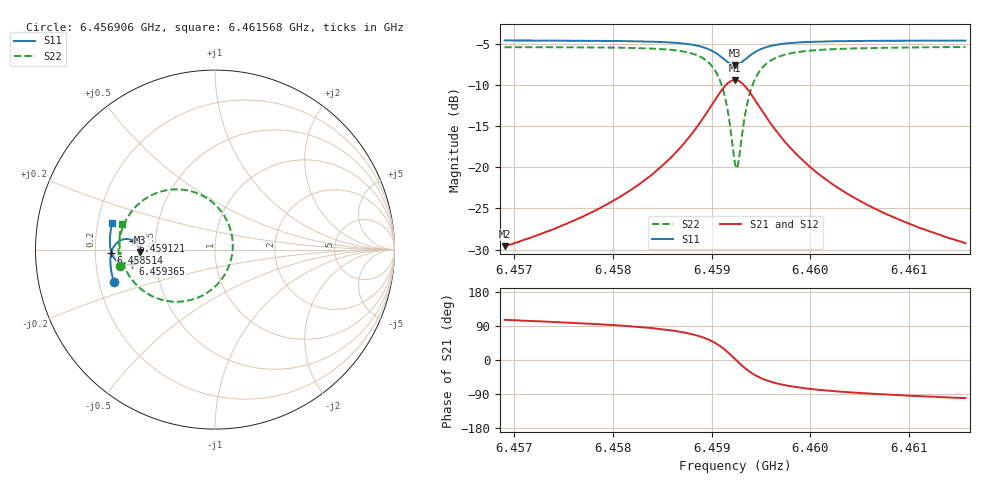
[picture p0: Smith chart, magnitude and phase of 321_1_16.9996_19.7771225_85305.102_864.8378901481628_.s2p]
#  HZ  S  RI  R  50.00
! Rohde & Schwarz Vector Network Analyzer
! Rohde-Schwarz,ZNB20-2Port,1311601062101988,3.16
! Created: UTC 3/20/2024, 11:06:25 PM
! freq[Hz]  re:S11  im:S11  re:S21  im:S21  re:S12  im:S12  re:S22  im:S22
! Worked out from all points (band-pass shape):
!   401 points, 6.456906 GHz to 6.461568 GHz, reference 50 ohm
!   highest |S21| = -9.36 dB at 6.459237 GHz (marker M1); lowest = -29.6 dB at 6.456906 GHz (marker M2)
!   |S21| within 3 dB of the highest: 6.459004 GHz to 6.45947 GHz (466.1 kHz wide, 0.00722 % of centre)
!   lowest |S11| = -7.5 dB at 6.459237 GHz (marker M3), VSWR 2.45, Z = 20.4 - j0.636 ohm
!   |S11| at or under -10 dB: nowhere
!   |S22| runs from -20.1 to -5.3 dB; largest |S21 - S12| = 0.013
!   S11 on the Smith chart (normalised r, x): 6.456906 GHz: 0.26, -0.14; 6.458514 GHz: 0.27, -0.02; 6.459121 GHz: 0.37, +0.05; 6.459365 GHz: 0.37, -0.07; 6.461568 GHz: 0.26, +0.12
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6.4569059e9  -0.5649 -0.1778  -0.00914 0.0319  -0.00741 0.0318  -0.531 -0.09
6.4576868e9  -0.5797 -0.1099  -0.00598 0.0495  -0.00345 0.049  -0.5375 0.000158
6.4581181e9  -0.5831 -0.0669  -0.000279 0.0688  0.00305 0.0676  -0.5301 0.0673
6.4584678e9  -0.5796 -0.0254  0.0134 0.0975  0.0173 0.0947  -0.5056 0.1445
6.4585144e9  -0.5782 -0.0191  0.0167 0.1027  0.0206 0.0998  -0.4993 0.1575
6.4587243e9  -0.5665 0.0128  0.0423 0.134  0.0464 0.1294  -0.4514 0.2284
6.4588758e9  -0.5455 0.039  0.0844 0.1641  0.0876 0.1578  -0.3743 0.2921
6.4590273e9  -0.4996 0.059  0.1749 0.1832  0.176 0.1759  -0.2094 0.3355
6.4591206e9  -0.4554 0.0492  0.2638 0.1527  0.2639 0.1467  -0.0459 0.2868
6.4591672e9  -0.4345 0.0307  0.3068 0.1106  0.3081 0.1052  0.0355 0.2119
6.4592371e9  -0.4197 -0.0128  0.3399 0.0152  0.3433 0.00819  0.099 0.0357
6.4592488e9  -0.4201 -0.0208  0.3397 -0.00231  0.3432 -0.00988  0.0987 0.00288
6.4592721e9  -0.4236 -0.0363  0.3343 -0.0363  0.3379 -0.0455  0.0878 -0.0616
6.4593304e9  -0.444 -0.0669  0.2968 -0.1076  0.298 -0.1196  0.0123 -0.1944
6.4593653e9  -0.4606 -0.0781  0.2651 -0.1361  0.2641 -0.1489  -0.0517 -0.2455
6.4594586e9  -0.5035 -0.0849  0.1818 -0.1669  0.1758 -0.1781  -0.2165 -0.2906
6.4596101e9  -0.5469 -0.0645  0.0953 -0.1536  0.087 -0.1596  -0.3805 -0.2424
6.4597733e9  -0.5684 -0.0369  0.0511 -0.1265  0.0436 -0.1291  -0.4595 -0.1718
6.4600181e9  -0.5812 -0.00136  0.0222 -0.0955  0.0166 -0.0961  -0.5067 -0.0907
6.4603445e9  -0.5856 0.0373  0.00703 -0.0705  0.00299 -0.0701  -0.5271 -0.0168
6.4607991e9  -0.5837 0.0829  -0.00127 -0.051  -0.00397 -0.0501  -0.532 0.0552
6.4615684e9  -0.5716 0.1509  -0.00623 -0.034  -0.00799 -0.0331  -0.5204 0.145
